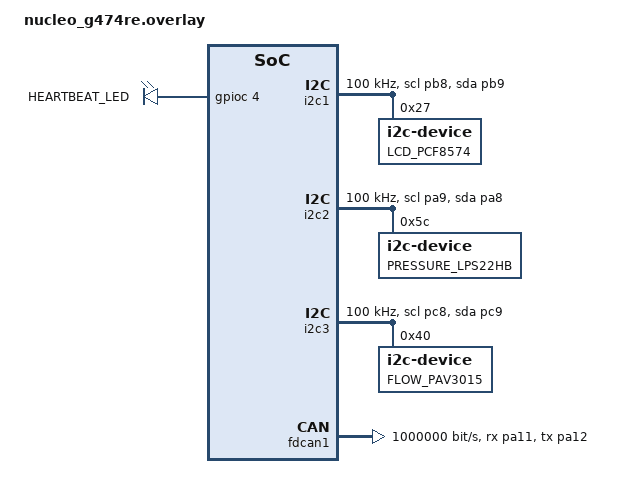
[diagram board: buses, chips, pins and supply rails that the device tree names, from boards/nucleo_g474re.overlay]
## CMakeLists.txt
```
cmake_minimum_required(VERSION 3.20.0)

set(CMAKE_CXX_STANDARD 20)
set(CMAKE_CXX_STANDARD_REQUIRED ON)
set(CMAKE_CXX_EXTENSIONS OFF)

find_package(Zephyr REQUIRED HINTS $ENV{ZEPHYR_BASE})
project(sensor_node LANGUAGES CXX)

target_sources(app PRIVATE
  ${CMAKE_CURRENT_SOURCE_DIR}/src/main.cpp
  ${CMAKE_CURRENT_SOURCE_DIR}/src/gpio_overlay.cpp
  ${CMAKE_CURRENT_SOURCE_DIR}/src/pressure_sensor.cpp
  ${CMAKE_CURRENT_SOURCE_DIR}/src/flow_sensor.cpp
  ${CMAKE_CURRENT_SOURCE_DIR}/src/heartbeat.cpp
  ${CMAKE_CURRENT_SOURCE_DIR}/src/sensor_manager.cpp
  ${CMAKE_CURRENT_SOURCE_DIR}/src/lcd_display.cpp
  ${CMAKE_CURRENT_SOURCE_DIR}/../common/sensor/src/can_bus_driver.cpp
  ${CMAKE_CURRENT_SOURCE_DIR}/../common/sensor/src/message_codec.cpp
)

# Zero-warnings policy (Rule 3) applies only to our own application code,
# not to Zephyr's kernel/drivers/HAL/CMSIS sources (which are not -Werror
# clean on this toolchain and are not ours to fix).
target_compile_options(app PRIVATE
  -Wall
  -Wextra
  -Werror
  -Wvolatile
)

target_include_directories(app PRIVATE
  ${CMAKE_CURRENT_SOURCE_DIR}/include
  ${CMAKE_CURRENT_SOURCE_DIR}/../common/sensor/include
)
```

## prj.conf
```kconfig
# ---- C++ support ------------------------------------------------------
CONFIG_CPP=y
CONFIG_STD_CPP20=y
CONFIG_NEWLIB_LIBC=y
CONFIG_GLIBCXX_LIBCPP=y
CONFIG_NEWLIB_LIBC_FLOAT_PRINTF=y

# ---- No heap allocation (Rule 1) --------------------------------------
CONFIG_HEAP_MEM_POOL_SIZE=0

# ---- Threading / stack watermarks (Rule 6) -----------------------------
CONFIG_THREAD_ANALYZER=y
CONFIG_THREAD_ANALYZER_AUTO=y
CONFIG_THREAD_NAME=y
CONFIG_MAIN_STACK_SIZE=2048

# ---- CAN-FD -------------------------------------------------------------
CONFIG_CAN=y
CONFIG_CAN_FD_MODE=y

# ---- I2C (pressure, flow, LCD) ------------------------------------------
CONFIG_I2C=y

# ---- ADC not required: sensors are I2C per hardware spec ---------------

# ---- GPIO -----------------------------------------------------------
CONFIG_GPIO=y

# ---- Logging ----------------------------------------------------------
CONFIG_LOG=y
CONFIG_LOG_MODE_IMMEDIATE=y

# ---- Assertions for defensive programming ------------------------------
CONFIG_ASSERT=y
```

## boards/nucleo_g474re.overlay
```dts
/*
 * Sensor Node device tree overlay.
 * Binds: I2C1 (LCD), I2C2 (pressure LPS22HB), I2C3 (flow PAV3015),
 * FDCAN1 (CAN bus), PC4 heartbeat LED.
 *
 * Application code SHALL NEVER reference these nodes directly; only
 * gpio_overlay.cpp is permitted to consume DT_ALIAS()/DT_NODELABEL()
 * macros generated from this file.
 */

&i2c1 {
	status = "okay";
	pinctrl-0 = <&i2c1_scl_pb8 &i2c1_sda_pb9>;
	pinctrl-names = "default";
	clock-frequency = <I2C_BITRATE_STANDARD>;

	lcd_pcf8574: pcf8574@27 {
		compatible = "i2c-device";
		reg = <0x27>;
		label = "LCD_PCF8574";
	};
};

&i2c2 {
	status = "okay";
	pinctrl-0 = <&i2c2_scl_pa9 &i2c2_sda_pa8>;
	pinctrl-names = "default";
	clock-frequency = <I2C_BITRATE_STANDARD>;

	pressure_lps22hb: lps22hb@5c {
		compatible = "i2c-device";
		reg = <0x5c>;
		label = "PRESSURE_LPS22HB";
	};
};

&i2c3 {
	status = "okay";
	pinctrl-0 = <&i2c3_scl_pc8 &i2c3_sda_pc9>;
	pinctrl-names = "default";
	clock-frequency = <I2C_BITRATE_STANDARD>;

	flow_pav3015: pav3015@40 {
		compatible = "i2c-device";
		reg = <0x40>;
		label = "FLOW_PAV3015";
	};
};

&fdcan1 {
	status = "okay";
	pinctrl-0 = <&fdcan1_rx_pa11 &fdcan1_tx_pa12>;
	pinctrl-names = "default";
	bitrate = <1000000>;
	bitrate-data = <4000000>;
};

/ {
	sensor_leds {
		compatible = "gpio-leds";
		heartbeat_led: heartbeat_led_pc4 {
			gpios = <&gpioc 4 GPIO_ACTIVE_HIGH>;
			label = "HEARTBEAT_LED";
		};
	};

	aliases {
		heartbeat-led = &heartbeat_led;
		pressure-sensor = &pressure_lps22hb;
		flow-sensor = &flow_pav3015;
		lcd-display = &lcd_pcf8574;
		can-bus = &fdcan1;
	};
};
```

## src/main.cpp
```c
/// @file main.cpp
/// @brief Sensor Node entry point. Wires gpio_overlay -> drivers ->
///        sensor_manager -> {lcd_display, can_bus_driver} and starts the
///        periodic sampling and heartbeat threads.
#include <zephyr/kernel.h>
#include <zephyr/logging/log.h>

#include "can_bus_driver.hpp"
#include "flow_sensor.hpp"
#include "gpio_overlay.hpp"
#include "heartbeat.hpp"
#include "lcd_display.hpp"
#include "message_codec.hpp"
#include "pressure_sensor.hpp"
#include "sensor_manager.hpp"

LOG_MODULE_REGISTER(sensor_node_main, LOG_LEVEL_INF);

namespace {

using hce::sensor_node::CanSensorObserver;
using hce::sensor_node::FlowSensor;
using hce::sensor_node::GpioOverlay;
using hce::sensor_node::Heartbeat;
using hce::sensor_node::LcdDisplay;
using hce::sensor_node::LcdSensorObserver;
using hce::sensor_node::PressureSensor;
using hce::sensor_node::SensorManager;

constexpr uint32_t kSensorSamplePeriodMs = 200U;
constexpr size_t kSensorThreadStackSize = 2048U;
constexpr size_t kHeartbeatThreadStackSize = 1024U;
constexpr int kSensorThreadPriority = 5;
constexpr int kHeartbeatThreadPriority = 5;

// Static-storage-duration singletons (Rule 1: no heap allocation).
GpioOverlay g_overlay;
hce::sensor::CanBusDriver* g_can_bus = nullptr;
PressureSensor* g_pressure_sensor = nullptr;
FlowSensor* g_flow_sensor = nullptr;
LcdDisplay* g_lcd = nullptr;
LcdSensorObserver* g_lcd_observer = nullptr;
CanSensorObserver* g_can_observer = nullptr;
SensorManager* g_sensor_manager = nullptr;
Heartbeat* g_heartbeat = nullptr;

// Placement-new storage pools (no dynamic allocation; Rule 1).
alignas(hce::sensor::CanBusDriver) uint8_t g_can_bus_storage[sizeof(hce::sensor::CanBusDriver)];
alignas(PressureSensor) uint8_t g_pressure_storage[sizeof(PressureSensor)];
alignas(FlowSensor) uint8_t g_flow_storage[sizeof(FlowSensor)];
alignas(LcdDisplay) uint8_t g_lcd_storage[sizeof(LcdDisplay)];
alignas(LcdSensorObserver) uint8_t g_lcd_observer_storage[sizeof(LcdSensorObserver)];
alignas(CanSensorObserver) uint8_t g_can_observer_storage[sizeof(CanSensorObserver)];
alignas(SensorManager) uint8_t g_sensor_manager_storage[sizeof(SensorManager)];
alignas(Heartbeat) uint8_t g_heartbeat_storage[sizeof(Heartbeat)];

k_work g_estop_work{};

/// @brief Deferred (thread-context) handler for an E-STOP broadcast.
///        CAN RX callbacks run in ISR context and must not perform I2C
///        transactions directly, so the LCD update is deferred here.
void EstopWorkHandler(k_work* /*work*/) {
    if (g_lcd != nullptr) {
        g_lcd->ShowEmergencyStop();
    }
}

/// @brief ISR-context CAN RX callback for the STOP command (0x100).
extern "C" void OnStopCommandRx(const device* /*dev*/, can_frame* /*frame*/, void* /*user_data*/) {
    k_work_submit(&g_estop_work);
}

void SensorThreadEntry(void* /*p1*/, void* /*p2*/, void* /*p3*/) {
    while (true) {
        g_sensor_manager->Tick();
        k_msleep(kSensorSamplePeriodMs);
    }
}

void HeartbeatThreadEntry(void* /*p1*/, void* /*p2*/, void* /*p3*/) {
    while (true) {
        g_heartbeat->Tick();
        k_msleep(Heartbeat::kPeriodMs);
    }
}

K_THREAD_STACK_DEFINE(g_sensor_thread_stack, kSensorThreadStackSize);
K_THREAD_STACK_DEFINE(g_heartbeat_thread_stack, kHeartbeatThreadStackSize);
k_thread g_sensor_thread{};
k_thread g_heartbeat_thread{};

}  // namespace

int main() {
    LOG_INF("Sensor Node booting");

    if (!g_overlay.Init()) {
        LOG_ERR("gpio_overlay init failed - halting");
        return -1;
    }

    g_can_bus = new (g_can_bus_storage) hce::sensor::CanBusDriver(g_overlay.CanDevice());
    g_pressure_sensor = new (g_pressure_storage) PressureSensor(g_overlay);
    g_flow_sensor = new (g_flow_storage) FlowSensor(g_overlay);
    g_lcd = new (g_lcd_storage) LcdDisplay(g_overlay);
    g_lcd_observer = new (g_lcd_observer_storage) LcdSensorObserver(*g_lcd);
    g_can_observer = new (g_can_observer_storage) CanSensorObserver(*g_can_bus);
    g_sensor_manager = new (g_sensor_manager_storage) SensorManager(*g_pressure_sensor, *g_flow_sensor);
    g_heartbeat = new (g_heartbeat_storage) Heartbeat(g_overlay, *g_can_bus);

    if (!g_can_bus->Init() || !g_pressure_sensor->Init() || !g_flow_sensor->Init() ||
        !g_lcd->Init()) {
        LOG_ERR("Peripheral init failed - halting");
        return -1;
    }

    g_sensor_manager->AddObserver(*g_lcd_observer);
    g_sensor_manager->AddObserver(*g_can_observer);

    k_work_init(&g_estop_work, EstopWorkHandler);
    g_can_bus->AddRxFilter(hce::sensor::CanId::kStopCommand, OnStopCommandRx, nullptr);

    k_thread_create(&g_sensor_thread, g_sensor_thread_stack, kSensorThreadStackSize,
                     SensorThreadEntry, nullptr, nullptr, nullptr, kSensorThreadPriority, 0,
                     K_NO_WAIT);
    k_thread_name_set(&g_sensor_thread, "sensor_sample");

    k_thread_create(&g_heartbeat_thread, g_heartbeat_thread_stack, kHeartbeatThreadStackSize,
                     HeartbeatThreadEntry, nullptr, nullptr, nullptr, kHeartbeatThreadPriority, 0,
                     K_NO_WAIT);
    k_thread_name_set(&g_heartbeat_thread, "sensor_heartbeat");

    LOG_INF("Sensor Node running");
    return 0;
}
```

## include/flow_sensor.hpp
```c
/// @file flow_sensor.hpp
/// @brief Driver for the PAV3015 air-velocity sensor (I2C3), converted
///        to volumetric air flow in litres/minute.
#pragma once

#include <cstdint>

#include "gpio_overlay.hpp"

namespace hce::sensor_node {

/// @brief Interface so FlowSensor can be mocked on the host build.
class IFlowSensor {
public:
    virtual ~IFlowSensor() = default;
    virtual bool Init() = 0;
    virtual bool Read(float& flow_lpm_out) = 0;
};

/// @brief PAV3015 air-velocity sensor driver with velocity -> flow
///        conversion (Q = v * A).
class FlowSensor final : public IFlowSensor {
public:
    explicit FlowSensor(GpioOverlay& overlay);

    bool Init() override;

    /// @brief Read air flow.
    /// @param flow_lpm_out Receives flow in litres per minute.
    /// @return true on a successful, ACKed I2C transaction.
    bool Read(float& flow_lpm_out) override;

private:
    static constexpr uint8_t kRegVelocityMsb = 0x00U;
    static constexpr uint8_t kRegVelocityLsb = 0x01U;
    static constexpr float kVelocityLsbToMps = 0.001F;  ///< mm/s -> m/s.

    /// @brief Effective duct cross-sectional area (m^2) used for the
    ///        velocity -> volumetric-flow conversion, per calibration.
    static constexpr float kDuctAreaM2 = 0.0007854F;  // 10 mm diameter duct.
    static constexpr float kM3PerSecToLitrePerMin = 60000.0F;

    GpioOverlay& overlay_;
    bool initialized_ = false;
};

}  // namespace hce::sensor_node
```

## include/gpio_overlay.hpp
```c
/// @file gpio_overlay.hpp
/// @brief Sole layer permitted to reference Device Tree bindings
///        (DT_ALIAS / DT_NODELABEL) for the Sensor Node.
///
/// Per the system data-flow contract:
///   Application code SHALL NEVER bypass gpio_overlay.
///   Application code SHALL NEVER directly access Device Tree.
///   Application code SHALL NEVER directly access STM32 peripherals.
/// Every other class in this project (pressure_sensor, flow_sensor,
/// lcd_display, heartbeat, sensor_manager) talks to hardware exclusively
/// through the methods below.
#pragma once

#include <cstdint>

#include <zephyr/device.h>
#include <zephyr/drivers/gpio.h>

namespace hce::sensor_node {

/// @brief Thin, mockable wrapper around all Sensor Node DT-bound devices.
class GpioOverlay {
public:
    GpioOverlay() = default;

    /// @brief Resolve and validate all DT-bound devices.
    /// @return true if every required device is ready.
    bool Init();

    /// @brief I2C bus carrying the pressure sensor (LPS22HB).
    const device* PressureI2cBus() const { return pressure_i2c_bus_; }

    /// @brief I2C bus carrying the flow sensor (PAV3015).
    const device* FlowI2cBus() const { return flow_i2c_bus_; }

    /// @brief I2C bus carrying the 16x2 LCD (PCF8574 backpack).
    const device* LcdI2cBus() const { return lcd_i2c_bus_; }

    /// @brief CAN-FD controller device (FDCAN1).
    const device* CanDevice() const { return can_dev_; }

    /// @brief Drive the heartbeat LED (PC4).
    /// @param on true = LED on.
    /// @return true on success.
    bool SetHeartbeatLed(bool on);

    static constexpr uint16_t kPressureSensorI2cAddr = 0x5CU;  ///< LPS22HB.
    static constexpr uint16_t kFlowSensorI2cAddr = 0x40U;      ///< PAV3015.
    static constexpr uint16_t kLcdI2cAddr = 0x27U;             ///< PCF8574.

private:
    const device* pressure_i2c_bus_ = nullptr;
    const device* flow_i2c_bus_ = nullptr;
    const device* lcd_i2c_bus_ = nullptr;
    const device* can_dev_ = nullptr;
    const device* heartbeat_led_dev_ = nullptr;
    gpio_dt_spec heartbeat_led_spec_{};
    bool initialized_ = false;
};

}  // namespace hce::sensor_node
```

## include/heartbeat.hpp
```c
/// @file heartbeat.hpp
/// @brief Periodic heartbeat: toggles the PC4 LED and transmits CAN ID
///        0x200 every 200 ms.
#pragma once

#include <cstdint>

#include "can_bus_driver.hpp"
#include "gpio_overlay.hpp"
#include "message_codec.hpp"

namespace hce::sensor_node {

/// @brief Sensor Node heartbeat publisher.
class Heartbeat {
public:
    Heartbeat(GpioOverlay& overlay, hce::sensor::ICanBusDriver& can_bus);

    /// @brief Toggle the LED and transmit one heartbeat frame.
    ///        Intended to be called every kPeriodMs from a dedicated thread.
    void Tick();

    static constexpr uint32_t kPeriodMs = 200U;

private:
    GpioOverlay& overlay_;
    hce::sensor::ICanBusDriver& can_bus_;
    uint32_t sequence_ = 0U;
    bool led_state_ = false;
};

}  // namespace hce::sensor_node
```

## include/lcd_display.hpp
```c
/// @file lcd_display.hpp
/// @brief Driver for a 16x2 HD44780 LCD behind a PCF8574 I2C backpack.
#pragma once

#include <cstdint>

#include "gpio_overlay.hpp"

namespace hce::sensor_node {

/// @brief Interface so LcdDisplay can be mocked on the host build, and so
///        SensorManager can notify it via the Observer pattern.
class ILcdDisplay {
public:
    virtual ~ILcdDisplay() = default;
    virtual bool Init() = 0;
    virtual void ShowPressure(float pressure_pa) = 0;
    virtual void ShowFlow(float flow_lpm) = 0;
    virtual void ShowRunning() = 0;
    virtual void ShowStopped() = 0;
    virtual void ShowEmergencyStop() = 0;
};

/// @brief PCF8574-backed 16x2 LCD driver (I2C1).
class LcdDisplay final : public ILcdDisplay {
public:
    explicit LcdDisplay(GpioOverlay& overlay);

    bool Init() override;
    void ShowPressure(float pressure_pa) override;
    void ShowFlow(float flow_lpm) override;
    void ShowRunning() override;
    void ShowStopped() override;
    void ShowEmergencyStop() override;

private:
    static constexpr uint8_t kLcdColumns = 16U;
    static constexpr uint8_t kLcdRows = 2U;
    static constexpr uint8_t kBacklightBit = 0x08U;
    static constexpr uint8_t kEnableBit = 0x04U;
    static constexpr uint8_t kRegisterSelectBit = 0x01U;

    /// @brief Write a single nibble + control bits to the PCF8574 expander.
    void WriteNibble(uint8_t nibble, bool is_data);
    /// @brief Write a full byte (two nibbles).
    void WriteByte(uint8_t value, bool is_data);
    void SetCursor(uint8_t row, uint8_t col);
    void WriteLine(uint8_t row, const char* text);

    GpioOverlay& overlay_;
    bool initialized_ = false;
};

}  // namespace hce::sensor_node
```

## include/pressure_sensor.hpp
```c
/// @file pressure_sensor.hpp
/// @brief Driver for the LPS22HB absolute-pressure sensor (I2C2).
#pragma once

#include <cstdint>

#include "gpio_overlay.hpp"

namespace hce::sensor_node {

/// @brief Interface so PressureSensor can be mocked on the host build.
class IPressureSensor {
public:
    virtual ~IPressureSensor() = default;
    virtual bool Init() = 0;
    virtual bool Read(float& pressure_pa_out) = 0;
};

/// @brief LPS22HB pressure sensor driver.
class PressureSensor final : public IPressureSensor {
public:
    explicit PressureSensor(GpioOverlay& overlay);

    bool Init() override;

    /// @brief Read absolute pressure.
    /// @param pressure_pa_out Receives the pressure in pascals.
    /// @return true on a successful, ACKed I2C transaction.
    bool Read(float& pressure_pa_out) override;

private:
    // LPS22HB register map (ST datasheet, DocID028669).
    static constexpr uint8_t kRegWhoAmI = 0x0FU;
    static constexpr uint8_t kWhoAmIValue = 0xB1U;
    static constexpr uint8_t kRegCtrl1 = 0x10U;
    static constexpr uint8_t kCtrl1OdrOneHz = 0x10U;
    static constexpr uint8_t kRegPressOutXl = 0x28U;  ///< Auto-increment MSB set externally.
    static constexpr uint8_t kAutoIncrementBit = 0x80U;
    static constexpr float kPressureLsbToHpa = 1.0F / 4096.0F;
    static constexpr float kHpaToPa = 100.0F;

    GpioOverlay& overlay_;
    bool initialized_ = false;
};

}  // namespace hce::sensor_node
```

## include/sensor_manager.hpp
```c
/// @file sensor_manager.hpp
/// @brief Orchestrates pressure/flow sampling and fans each reading out to
///        the LCD and the CAN bus using the Observer design pattern
///        (Rule 4: named design pattern per module).
#pragma once

#include <array>
#include <cstdint>

#include "can_bus_driver.hpp"
#include "flow_sensor.hpp"
#include "lcd_display.hpp"
#include "message_codec.hpp"
#include "pressure_sensor.hpp"

namespace hce::sensor_node {

/// @brief Observer interface notified whenever a new sample is available.
///        LcdDisplay and the CAN publisher path both implement this.
class ISensorDataObserver {
public:
    virtual ~ISensorDataObserver() = default;
    virtual void OnPressureSample(float pressure_pa) = 0;
    virtual void OnFlowSample(float flow_lpm) = 0;
};

/// @brief Adapts LcdDisplay to the ISensorDataObserver interface.
class LcdSensorObserver final : public ISensorDataObserver {
public:
    explicit LcdSensorObserver(ILcdDisplay& lcd) : lcd_(lcd) {}
    void OnPressureSample(float pressure_pa) override { lcd_.ShowPressure(pressure_pa); }
    void OnFlowSample(float flow_lpm) override { lcd_.ShowFlow(flow_lpm); }

private:
    ILcdDisplay& lcd_;
};

/// @brief Adapts the CAN transport to the ISensorDataObserver interface,
///        publishing CAN ID 0x300 (pressure) / 0x301 (flow).
class CanSensorObserver final : public ISensorDataObserver {
public:
    explicit CanSensorObserver(hce::sensor::ICanBusDriver& can_bus) : can_bus_(can_bus) {}
    void OnPressureSample(float pressure_pa) override;
    void OnFlowSample(float flow_lpm) override;

private:
    hce::sensor::ICanBusDriver& can_bus_;
    uint32_t pressure_sequence_ = 0U;
    uint32_t flow_sequence_ = 0U;
};

/// @brief Top-level Sensor Node sampling coordinator.
class SensorManager {
public:
    static constexpr std::size_t kMaxObservers = 4U;

    SensorManager(IPressureSensor& pressure_sensor, IFlowSensor& flow_sensor);

    /// @brief Register an observer (Observer pattern subject-side API).
    /// @return true if there was a free slot.
    bool AddObserver(ISensorDataObserver& observer);

    /// @brief Sample both sensors once and notify all observers.
    ///        Intended to be called every 200 ms from a dedicated thread.
    void Tick();

    /// @brief Called by the CAN RX path when a STOP command (0x100) arrives.
    void OnStopCommandReceived();

private:
    IPressureSensor& pressure_sensor_;
    IFlowSensor& flow_sensor_;
    std::array<ISensorDataObserver*, kMaxObservers> observers_{};
    std::size_t observer_count_ = 0U;
};

}  // namespace hce::sensor_node
```

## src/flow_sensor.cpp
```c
#include "flow_sensor.hpp"

#include <zephyr/drivers/i2c.h>
#include <zephyr/logging/log.h>

LOG_MODULE_REGISTER(flow_sensor, LOG_LEVEL_INF);

namespace hce::sensor_node {

FlowSensor::FlowSensor(GpioOverlay& overlay) : overlay_(overlay) {}

bool FlowSensor::Init() {
    // PAV3015 requires no explicit configuration for continuous
    // free-running velocity conversion in the default power-up mode.
    initialized_ = device_is_ready(overlay_.FlowI2cBus());
    if (!initialized_) {
        LOG_ERR("Flow sensor I2C bus not ready");
    }
    return initialized_;
}

bool FlowSensor::Read(float& flow_lpm_out) {
    if (!initialized_) {
        return false;
    }

    uint8_t raw[2] = {0U, 0U};
    const int err = i2c_burst_read(overlay_.FlowI2cBus(), GpioOverlay::kFlowSensorI2cAddr,
                                    kRegVelocityMsb, raw, sizeof(raw));
    if (err != 0) {
        LOG_WRN("PAV3015 read failed: %d", err);
        return false;
    }

    const uint16_t raw_velocity =
        static_cast<uint16_t>((static_cast<uint16_t>(raw[0]) << 8) | raw[1]);

    const float velocity_mps = static_cast<float>(raw_velocity) * kVelocityLsbToMps;
    const float flow_m3_per_s = velocity_mps * kDuctAreaM2;
    flow_lpm_out = flow_m3_per_s * kM3PerSecToLitrePerMin;
    return true;
}

}  // namespace hce::sensor_node
```

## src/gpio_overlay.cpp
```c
#include "gpio_overlay.hpp"

#include <zephyr/devicetree.h>
#include <zephyr/drivers/gpio.h>
#include <zephyr/logging/log.h>

LOG_MODULE_REGISTER(sensor_gpio_overlay, LOG_LEVEL_INF);

namespace hce::sensor_node {

bool GpioOverlay::Init() {
    pressure_i2c_bus_ = DEVICE_DT_GET(DT_BUS(DT_ALIAS(pressure_sensor)));
    flow_i2c_bus_ = DEVICE_DT_GET(DT_BUS(DT_ALIAS(flow_sensor)));
    lcd_i2c_bus_ = DEVICE_DT_GET(DT_BUS(DT_ALIAS(lcd_display)));
    can_dev_ = DEVICE_DT_GET(DT_ALIAS(can_bus));
    heartbeat_led_spec_ = GPIO_DT_SPEC_GET(DT_ALIAS(heartbeat_led), gpios);

    if (!device_is_ready(pressure_i2c_bus_) || !device_is_ready(flow_i2c_bus_) ||
        !device_is_ready(lcd_i2c_bus_) || !device_is_ready(can_dev_) ||
        !device_is_ready(heartbeat_led_spec_.port)) {
        LOG_ERR("One or more Sensor Node devices are not ready");
        return false;
    }

    const int err = gpio_pin_configure_dt(&heartbeat_led_spec_, GPIO_OUTPUT_INACTIVE);
    if (err != 0) {
        LOG_ERR("Failed to configure heartbeat LED: %d", err);
        return false;
    }

    initialized_ = true;
    return true;
}

bool GpioOverlay::SetHeartbeatLed(bool on) {
    if (!initialized_) {
        return false;
    }
    return gpio_pin_set_dt(&heartbeat_led_spec_, on ? 1 : 0) == 0;
}

}  // namespace hce::sensor_node
```

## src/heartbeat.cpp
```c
#include "heartbeat.hpp"

namespace hce::sensor_node {

Heartbeat::Heartbeat(GpioOverlay& overlay, hce::sensor::ICanBusDriver& can_bus)
    : overlay_(overlay), can_bus_(can_bus) {}

void Heartbeat::Tick() {
    led_state_ = !led_state_;
    overlay_.SetHeartbeatLed(led_state_);

    hce::sensor::HeartbeatMessage msg{};
    msg.sequence = sequence_;
    msg.node_ok = 1U;
    ++sequence_;

    const hce::sensor::MessageCodec::Payload payload = hce::sensor::MessageCodec::EncodeHeartbeat(msg);
    can_bus_.Send(hce::sensor::CanId::kSensorHeartbeat, payload.data(),
                   hce::sensor::MessageCodec::kPayloadBytes);
}

}  // namespace hce::sensor_node
```

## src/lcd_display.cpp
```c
#include "lcd_display.hpp"

#include <cstdio>

#include <zephyr/drivers/i2c.h>
#include <zephyr/kernel.h>
#include <zephyr/logging/log.h>

LOG_MODULE_REGISTER(lcd_display, LOG_LEVEL_INF);

namespace hce::sensor_node {

namespace {
constexpr uint8_t kCmdClearDisplay = 0x01U;
constexpr uint8_t kCmdFunctionSet4Bit2Line = 0x28U;
constexpr uint8_t kCmdDisplayOn = 0x0CU;
constexpr uint8_t kCmdEntryModeIncrement = 0x06U;
constexpr uint8_t kRowZeroAddr = 0x80U;
constexpr uint8_t kRowOneAddr = 0xC0U;
}  // namespace

LcdDisplay::LcdDisplay(GpioOverlay& overlay) : overlay_(overlay) {}

void LcdDisplay::WriteNibble(uint8_t nibble, bool is_data) {
    uint8_t frame = static_cast<uint8_t>((nibble & 0xF0U) | kBacklightBit);
    if (is_data) {
        frame = static_cast<uint8_t>(frame | kRegisterSelectBit);
    }

    const uint8_t enable_high = static_cast<uint8_t>(frame | kEnableBit);
    i2c_write(overlay_.LcdI2cBus(), &enable_high, 1U, GpioOverlay::kLcdI2cAddr);
    k_busy_wait(1);

    const uint8_t enable_low = static_cast<uint8_t>(frame & ~kEnableBit);
    i2c_write(overlay_.LcdI2cBus(), &enable_low, 1U, GpioOverlay::kLcdI2cAddr);
    k_busy_wait(50);
}

void LcdDisplay::WriteByte(uint8_t value, bool is_data) {
    WriteNibble(static_cast<uint8_t>(value & 0xF0U), is_data);
    WriteNibble(static_cast<uint8_t>((value << 4U) & 0xF0U), is_data);
}

bool LcdDisplay::Init() {
    k_msleep(50);
    WriteNibble(0x30U, false);
    k_msleep(5);
    WriteNibble(0x30U, false);
    k_busy_wait(150);
    WriteNibble(0x30U, false);
    WriteNibble(0x20U, false);

    WriteByte(kCmdFunctionSet4Bit2Line, false);
    WriteByte(kCmdDisplayOn, false);
    WriteByte(kCmdClearDisplay, false);
    k_msleep(2);
    WriteByte(kCmdEntryModeIncrement, false);

    initialized_ = true;
    return true;
}

void LcdDisplay::SetCursor(uint8_t row, uint8_t col) {
    const uint8_t base = (row == 0U) ? kRowZeroAddr : kRowOneAddr;
    WriteByte(static_cast<uint8_t>(base + col), false);
}

void LcdDisplay::WriteLine(uint8_t row, const char* text) {
    SetCursor(row, 0U);
    for (uint8_t i = 0U; i < kLcdColumns; ++i) {
        const char c = text[i];
        if (c == '\0') {
            break;
        }
        WriteByte(static_cast<uint8_t>(c), true);
    }
}

void LcdDisplay::ShowPressure(float pressure_pa) {
    if (!initialized_) {
        return;
    }
    char line[kLcdColumns + 1U] = {0};
    // Truncation to the 16-column LCD width is intentional here: an
    // out-of-range reading is meant to be clipped to fit the display,
    // not treated as a bug. snprintf() always null-terminates safely
    // within `line`, so this can never overflow the buffer.
#if defined(__GNUC__)
#pragma GCC diagnostic push
#pragma GCC diagnostic ignored "-Wformat-truncation"
#endif
    std::snprintf(line, sizeof(line), "Pressure:%5d Pa", static_cast<int>(pressure_pa));
#if defined(__GNUC__)
#pragma GCC diagnostic pop
#endif
    WriteLine(0U, line);
}

void LcdDisplay::ShowFlow(float flow_lpm) {
    if (!initialized_) {
        return;
    }
    char line[kLcdColumns + 1U] = {0};
    // See ShowPressure(): truncation to fit the 16-column LCD is intentional.
#if defined(__GNUC__)
#pragma GCC diagnostic push
#pragma GCC diagnostic ignored "-Wformat-truncation"
#endif
    std::snprintf(line, sizeof(line), "Flow:%7d LPM", static_cast<int>(flow_lpm));
#if defined(__GNUC__)
#pragma GCC diagnostic pop
#endif
    WriteLine(1U, line);
}

void LcdDisplay::ShowRunning() {
    WriteLine(1U, "STATUS: RUN    ");
}

void LcdDisplay::ShowStopped() {
    WriteLine(1U, "STATUS: STOP   ");
}

void LcdDisplay::ShowEmergencyStop() {
    WriteLine(0U, "E-STOP BROADCAST");
    WriteLine(1U, "                ");
}

}  // namespace hce::sensor_node
```

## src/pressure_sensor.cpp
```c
#include "pressure_sensor.hpp"

#include <zephyr/drivers/i2c.h>
#include <zephyr/logging/log.h>

LOG_MODULE_REGISTER(pressure_sensor, LOG_LEVEL_INF);

namespace hce::sensor_node {

PressureSensor::PressureSensor(GpioOverlay& overlay) : overlay_(overlay) {}

bool PressureSensor::Init() {
    uint8_t who_am_i = 0U;
    int err = i2c_reg_read_byte(overlay_.PressureI2cBus(), GpioOverlay::kPressureSensorI2cAddr,
                                 kRegWhoAmI, &who_am_i);
    if (err != 0 || who_am_i != kWhoAmIValue) {
        LOG_ERR("LPS22HB WHO_AM_I mismatch (err=%d, val=0x%02x)", err, who_am_i);
        return false;
    }

    err = i2c_reg_write_byte(overlay_.PressureI2cBus(), GpioOverlay::kPressureSensorI2cAddr,
                              kRegCtrl1, kCtrl1OdrOneHz);
    if (err != 0) {
        LOG_ERR("Failed to configure LPS22HB CTRL1: %d", err);
        return false;
    }

    initialized_ = true;
    return true;
}

bool PressureSensor::Read(float& pressure_pa_out) {
    if (!initialized_) {
        return false;
    }

    uint8_t raw[3] = {0U, 0U, 0U};
    const int err = i2c_burst_read(overlay_.PressureI2cBus(), GpioOverlay::kPressureSensorI2cAddr,
                                    static_cast<uint8_t>(kRegPressOutXl | kAutoIncrementBit), raw,
                                    sizeof(raw));
    if (err != 0) {
        LOG_WRN("LPS22HB read failed: %d", err);
        return false;
    }

    const int32_t raw_pressure =
        (static_cast<int32_t>(raw[2]) << 16) | (static_cast<int32_t>(raw[1]) << 8) | raw[0];

    const float pressure_hpa = static_cast<float>(raw_pressure) * kPressureLsbToHpa;
    pressure_pa_out = pressure_hpa * kHpaToPa;
    return true;
}

}  // namespace hce::sensor_node
```

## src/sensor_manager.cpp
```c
#include "sensor_manager.hpp"

namespace hce::sensor_node {

void CanSensorObserver::OnPressureSample(float pressure_pa) {
    hce::sensor::PressureMessage msg{};
    msg.pressure_pa = pressure_pa;
    msg.sequence = pressure_sequence_;
    ++pressure_sequence_;

    const hce::sensor::MessageCodec::Payload payload = hce::sensor::MessageCodec::EncodePressure(msg);
    can_bus_.Send(hce::sensor::CanId::kPressure, payload.data(),
                   hce::sensor::MessageCodec::kPayloadBytes);
}

void CanSensorObserver::OnFlowSample(float flow_lpm) {
    hce::sensor::FlowMessage msg{};
    msg.flow_lpm = flow_lpm;
    msg.sequence = flow_sequence_;
    ++flow_sequence_;

    const hce::sensor::MessageCodec::Payload payload = hce::sensor::MessageCodec::EncodeFlow(msg);
    can_bus_.Send(hce::sensor::CanId::kFlow, payload.data(),
                   hce::sensor::MessageCodec::kPayloadBytes);
}

SensorManager::SensorManager(IPressureSensor& pressure_sensor, IFlowSensor& flow_sensor)
    : pressure_sensor_(pressure_sensor), flow_sensor_(flow_sensor) {}

bool SensorManager::AddObserver(ISensorDataObserver& observer) {
    if (observer_count_ >= kMaxObservers) {
        return false;
    }
    observers_[observer_count_] = &observer;
    ++observer_count_;
    return true;
}

void SensorManager::Tick() {
    float pressure_pa = 0.0F;
    if (pressure_sensor_.Read(pressure_pa)) {
        for (std::size_t i = 0U; i < observer_count_; ++i) {
            observers_[i]->OnPressureSample(pressure_pa);
        }
    }

    float flow_lpm = 0.0F;
    if (flow_sensor_.Read(flow_lpm)) {
        for (std::size_t i = 0U; i < observer_count_; ++i) {
            observers_[i]->OnFlowSample(flow_lpm);
        }
    }
}

void SensorManager::OnStopCommandReceived() {
    // Forwarded to LCD observers that also implement emergency-stop
    // display; sensor_manager itself stays hardware-agnostic and simply
    // signals the event upward. Handled directly in main.cpp's CAN
    // callback for the LCD, since ISensorDataObserver does not carry an
    // E-STOP notification (kept minimal per Observer interface).
}

}  // namespace hce::sensor_node
```
